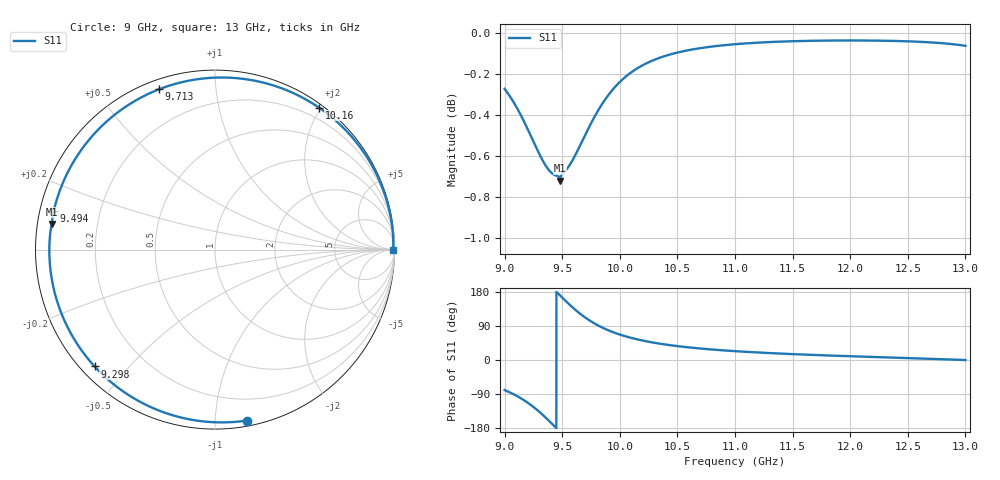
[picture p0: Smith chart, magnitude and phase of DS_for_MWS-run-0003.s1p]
! TOUCHSTONE file generated by CST DESIGN STUDIO
! Date and time: Tue Feb  4 14:31:27 2025
! Project name: C:\Work\MatlabApps\UnitCellOptimizationMatlab\CST\unitcell.cst
! Tree item: Tasks\Sweep1\SPara1\S-Parameters
! Header version: 2024
! Port assignment regex: !\s*Touchstone port\s*([0-9]+)\s*=\s*(CST MWS port|CST DES external port|CST DES block port)\s*(.+)\s* \(\"(.*)\"\)(\s*mode\s*([0-9]+))?.*
! Touchstone port assignment:
! Touchstone port 1 = CST DES external port 1 ("")
# GHz S MA R 50
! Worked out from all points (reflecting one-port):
!   4001 points, 9 GHz to 13 GHz, reference 50 ohm
!   lowest |S11| = -0.7 dB at 9.479 GHz (marker M1), VSWR 24.17, Z = 2.08 + j3.9 ohm
!   phase of S11 starts at -79 deg and turns -281 deg over the sweep
!   S11 on the Smith chart (normalised r, x): 9 GHz: 0.04, -1.20; 9.298 GHz: 0.04, -0.40; 9.494 GHz: 0.04, +0.12; 9.713 GHz: 0.04, +0.71; 10.16 GHz: 0.05, +1.97; 13 GHz: open
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9  0.969 -79.4
9.093  0.9602 -92.7
9.168  0.9515 -106.1
9.235  0.9429 -120.3
9.298  0.9347 -135.9
9.35  0.9289 -150.1
9.395  0.9252 -163.3
9.437  0.9233 -176.1
9.479  0.9205 171.1
9.494  0.9237 166.5
9.5  0.924 164.7
9.55  0.9273 149.9
9.608  0.9331 133.9
9.659  0.9393 121.2
9.713  0.946 109.3
9.769  0.9527 98.4
9.832  0.9594 88.0
9.914  0.9667 76.7
10  0.9728 67.1
10.161  0.9806 53.8
10.315  0.9853 44.7
10.5  0.9889 36.6
10.722  0.9916 29.7
11  0.9935 23.3
11.5  0.9952 15.5
12  0.9956 9.9
12.5  0.9951 5.2
13  0.9926 -0.1
